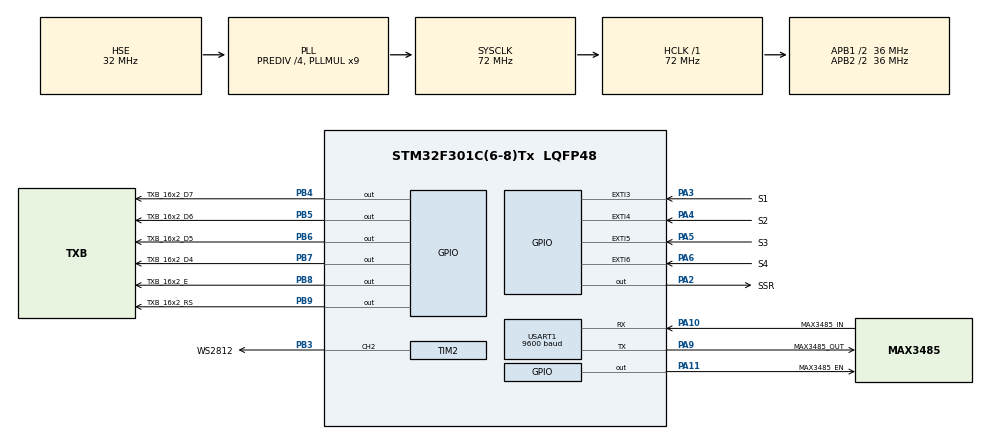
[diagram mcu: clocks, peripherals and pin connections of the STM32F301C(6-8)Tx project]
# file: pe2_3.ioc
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Dma.Request0=TIM2_CH2/CH4
Dma.TIM2_CH2/CH4.0.Direction=DMA_MEMORY_TO_PERIPH
Dma.TIM2_CH2/CH4.0.Instance=DMA1_Channel7
Dma.TIM2_CH2/CH4.0.MemDataAlignment=DMA_MDATAALIGN_WORD
Dma.TIM2_CH2/CH4.0.MemInc=DMA_MINC_ENABLE
Dma.TIM2_CH2/CH4.0.Mode=DMA_NORMAL
Dma.TIM2_CH2/CH4.0.PeriphDataAlignment=DMA_PDATAALIGN_WORD
Dma.TIM2_CH2/CH4.0.PeriphInc=DMA_PINC_DISABLE
Dma.TIM2_CH2/CH4.0.Priority=DMA_PRIORITY_LOW
Mcu.Family=STM32F3
Mcu.Name=STM32F301C(6-8)Tx
Mcu.Package=LQFP48
NVIC.DMA1_Channel7_IRQn=true\:0\:0\:false\:false\:true\:false\:true\:true
NVIC.EXTI3_IRQn=true\:0\:0\:false\:false\:true\:true\:true\:true
NVIC.EXTI4_IRQn=true\:0\:0\:false\:false\:true\:true\:true\:true
NVIC.EXTI9_5_IRQn=true\:0\:0\:false\:false\:true\:true\:true\:true
NVIC.PriorityGroup=NVIC_PRIORITYGROUP_4
PA10.GPIO_Label=MAX3485_IN
PA10.Mode=Asynchronous
PA10.Signal=USART1_RX
PA11.GPIO_Label=MAX3485_EN
PA11.Signal=GPIO_Output
PA13.Signal=SYS_JTMS-SWDIO
PA14.Signal=SYS_JTCK-SWCLK
PA2.GPIO_Label=SSR
PA2.Signal=GPIO_Output
PA3.GPIO_Label=S1
PA3.Signal=GPXTI3
PA4.GPIO_Label=S2
PA4.Signal=GPXTI4
PA5.GPIO_Label=S3
PA5.Signal=GPXTI5
PA6.GPIO_Label=S4
PA6.Signal=GPXTI6
PA9.GPIO_Label=MAX3485_OUT
PA9.Mode=Asynchronous
PA9.Signal=USART1_TX
PB3.GPIO_Label=WS2812
PB3.Signal=S_TIM2_CH2
PB4.GPIO_Label=TXB_16x2_D7
PB4.Signal=GPIO_Output
PB5.GPIO_Label=TXB_16x2_D6
PB5.Signal=GPIO_Output
PB6.GPIO_Label=TXB_16x2_D5
PB6.Signal=GPIO_Output
PB7.GPIO_Label=TXB_16x2_D4
PB7.Signal=GPIO_Output
PB8.GPIO_Label=TXB_16x2_E
PB8.Signal=GPIO_Output
PB9.GPIO_Label=TXB_16x2_RS
PB9.Signal=GPIO_Output
PF0-OSC_IN.Mode=HSE-External-Oscillator
PF0-OSC_IN.Signal=RCC_OSC_IN
PF1-OSC_OUT.Mode=HSE-External-Oscillator
PF1-OSC_OUT.Signal=RCC_OSC_OUT
ProjectManager.HeapSize=0x200
ProjectManager.StackSize=0x400
ProjectManager.TargetToolchain=STM32CubeIDE
RCC.AHBFreq_Value=72000000
RCC.APB1CLKDivider=RCC_HCLK_DIV2
RCC.APB1Freq_Value=36000000
RCC.APB1TimFreq_Value=72000000
RCC.APB2CLKDivider=RCC_HCLK_DIV2
RCC.APB2Freq_Value=36000000
RCC.APB2TimFreq_Value=72000000
RCC.CortexFreq_Value=72000000
RCC.HCLKFreq_Value=72000000
RCC.HSE_VALUE=32000000
RCC.HSI_VALUE=8000000
RCC.LSE_VALUE=32768
RCC.PLLMUL=RCC_PLL_MUL9
RCC.PLLSourceVirtual=RCC_PLLSOURCE_HSE
RCC.RCC_PLLsource_Clock_Source_FROM_HSE=RCC_HSE_PREDIV_DIV4
RCC.SYSCLKFreq_VALUE=72000000
RCC.SYSCLKSourceVirtual=RCC_SYSCLKSOURCE_PLLCLK
SH.S_TIM2_CH2.0=TIM2_CH2,PWM Generation2 CH2
TIM2.Channel-PWM\ Generation2\ CH2=TIM_CHANNEL_2
TIM2.Period=90-1
USART1.BaudRate=9600
USART1.VirtualMode-Asynchronous=VM_ASYNC
VP_TIM2_VS_ClockSourceINT.Mode=Internal
board=custom

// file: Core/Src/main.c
/* USER CODE BEGIN Header */
/**
  ******************************************************************************
  * @file           : main.c
  * @brief          : Main program body
  ******************************************************************************
  * @attention
  *
  * Copyright (c) 2025 STMicroelectronics.
  * All rights reserved.
  *
  * This software is licensed under terms that can be found in the LICENSE file
  * in the root directory of this software component.
  * If no LICENSE file comes with this software, it is provided AS-IS.
  *
  ******************************************************************************
  */
/* USER CODE END Header */
#include "main.h"

/* USER CODE BEGIN Includes */

#include <stdio.h>
#include <string.h>

#include "16x2_screen.h"
#include "ui.h"
#include "max3485.h"
#include "SSR.h"
#include "LED.h"

/* USER CODE END Includes */

TIM_HandleTypeDef htim2;
DMA_HandleTypeDef hdma_tim2_ch2_ch4;

UART_HandleTypeDef huart1;

/* USER CODE BEGIN PV */

extern volatile  uint8_t page;
extern volatile  uint8_t select;
extern volatile  uint8_t conf;

extern volatile uint8_t update;

extern volatile float rs485;

extern volatile  int16_t max_level;
extern volatile  int16_t min_level;
extern volatile  int16_t max_well_level;
extern volatile  int16_t min_well_level;

extern volatile uint8_t brightness;

uint32_t pm = 0; //used for debounce
uint32_t cm = 0; //used for debounce

/* USER CODE END PV */

void SystemClock_Config(void);
static void MX_GPIO_Init(void);
static void MX_DMA_Init(void);
static void MX_USART1_UART_Init(void);
static void MX_TIM2_Init(void);

int main(void)
{

  /* MCU Configuration--------------------------------------------------------*/

  /* Reset of all peripherals, Initializes the Flash interface and the Systick. */
  HAL_Init();

  /* Configure the system clock */
  SystemClock_Config();

  /* Initialize all configured peripherals */
  MX_GPIO_Init();
  MX_DMA_Init();
  MX_USART1_UART_Init();
  MX_TIM2_Init();
  /* USER CODE BEGIN 2 */

  init_screen();

  ui();

  /* USER CODE END 2 */

  /* Infinite loop */
  while (1)
  {

    /* USER CODE BEGIN 3 */

	if(update == 1){
		update = 0;
		ui();
	}

	sendCommand(0x01, 0x03, 0x0004, 0x01);
	HAL_Delay(2);
	readResponse(7);

	if(HAL_GPIO_ReadPin(SSR_GPIO_Port, SSR_Pin) == 0 && rs485 <= min_level){
		relay("ON");
	}
	else if(HAL_GPIO_ReadPin(SSR_GPIO_Port, SSR_Pin) == 1 && rs485 <= max_level){

	}
	else if(HAL_GPIO_ReadPin(SSR_GPIO_Port, SSR_Pin) == 1 && rs485 >= max_level){
		relay("OFF");
	}
	else{
		relay("OFF");
	}

	float level_size = 133.0f  / (max_well_level - min_well_level);
	uint8_t min = (min_level * level_size);
	uint8_t max = (max_level * level_size);
	uint8_t min_well = (min_well_level * level_size);
	uint8_t max_well = ((max_well_level - min_well_level) * level_size);
	uint8_t level = (rs485 * level_size);

	for(uint8_t l = 0; l<=133; l++){
		if(l <= level){
			Set_LED(l, 0, 0, brightness);
		}
		else{
			Set_LED(l, 0, 0, 0);
		}
	}

	Set_LED(min, (brightness + 100), 0, 0);
	Set_LED(max, 0, (brightness + 100), 0);
	Set_LED(min_well, (brightness - 5), (brightness - 5), (brightness - 5));
	Set_LED(max_well, (brightness - 5), (brightness - 5), (brightness - 5));

	WS2812_Send(&htim2);

  }
  /* USER CODE END 3 */
}

void SystemClock_Config(void)
{
  RCC_OscInitTypeDef RCC_OscInitStruct = {0};
  RCC_ClkInitTypeDef RCC_ClkInitStruct = {0};
  RCC_PeriphCLKInitTypeDef PeriphClkInit = {0};

  /** Initializes the RCC Oscillators according to the specified parameters
  * in the RCC_OscInitTypeDef structure.
  */
  RCC_OscInitStruct.OscillatorType = RCC_OSCILLATORTYPE_HSE;
  RCC_OscInitStruct.HSEState = RCC_HSE_ON;
  RCC_OscInitStruct.HSEPredivValue = RCC_HSE_PREDIV_DIV4;
  RCC_OscInitStruct.HSIState = RCC_HSI_ON;
  RCC_OscInitStruct.PLL.PLLState = RCC_PLL_ON;
  RCC_OscInitStruct.PLL.PLLSource = RCC_PLLSOURCE_HSE;
  RCC_OscInitStruct.PLL.PLLMUL = RCC_PLL_MUL9;
  if (HAL_RCC_OscConfig(&RCC_OscInitStruct) != HAL_OK)
  {
    Error_Handler();
  }

  /** Initializes the CPU, AHB and APB buses clocks
  */
  RCC_ClkInitStruct.ClockType = RCC_CLOCKTYPE_HCLK|RCC_CLOCKTYPE_SYSCLK
                              |RCC_CLOCKTYPE_PCLK1|RCC_CLOCKTYPE_PCLK2;
  RCC_ClkInitStruct.SYSCLKSource = RCC_SYSCLKSOURCE_PLLCLK;
  RCC_ClkInitStruct.AHBCLKDivider = RCC_SYSCLK_DIV1;
  RCC_ClkInitStruct.APB1CLKDivider = RCC_HCLK_DIV2;
  RCC_ClkInitStruct.APB2CLKDivider = RCC_HCLK_DIV2;

  if (HAL_RCC_ClockConfig(&RCC_ClkInitStruct, FLASH_LATENCY_2) != HAL_OK)
  {
    Error_Handler();
  }
  PeriphClkInit.PeriphClockSelection = RCC_PERIPHCLK_USART1;
  PeriphClkInit.Usart1ClockSelection = RCC_USART1CLKSOURCE_PCLK1;
  if (HAL_RCCEx_PeriphCLKConfig(&PeriphClkInit) != HAL_OK)
  {
    Error_Handler();
  }
}

static void MX_TIM2_Init(void)
{

  TIM_ClockConfigTypeDef sClockSourceConfig = {0};
  TIM_MasterConfigTypeDef sMasterConfig = {0};
  TIM_OC_InitTypeDef sConfigOC = {0};

  htim2.Instance = TIM2;
  htim2.Init.Prescaler = 0;
  htim2.Init.CounterMode = TIM_COUNTERMODE_UP;
  htim2.Init.Period = 90-1;
  htim2.Init.ClockDivision = TIM_CLOCKDIVISION_DIV1;
  htim2.Init.AutoReloadPreload = TIM_AUTORELOAD_PRELOAD_DISABLE;
  if (HAL_TIM_Base_Init(&htim2) != HAL_OK)
  {
    Error_Handler();
  }
  sClockSourceConfig.ClockSource = TIM_CLOCKSOURCE_INTERNAL;
  if (HAL_TIM_ConfigClockSource(&htim2, &sClockSourceConfig) != HAL_OK)
  {
    Error_Handler();
  }
  if (HAL_TIM_PWM_Init(&htim2) != HAL_OK)
  {
    Error_Handler();
  }
  sMasterConfig.MasterOutputTrigger = TIM_TRGO_RESET;
  sMasterConfig.MasterSlaveMode = TIM_MASTERSLAVEMODE_DISABLE;
  if (HAL_TIMEx_MasterConfigSynchronization(&htim2, &sMasterConfig) != HAL_OK)
  {
    Error_Handler();
  }
  sConfigOC.OCMode = TIM_OCMODE_PWM1;
  sConfigOC.Pulse = 0;
  sConfigOC.OCPolarity = TIM_OCPOLARITY_HIGH;
  sConfigOC.OCFastMode = TIM_OCFAST_DISABLE;
  if (HAL_TIM_PWM_ConfigChannel(&htim2, &sConfigOC, TIM_CHANNEL_2) != HAL_OK)
  {
    Error_Handler();
  }
  HAL_TIM_MspPostInit(&htim2);

}

static void MX_USART1_UART_Init(void)
{

  huart1.Instance = USART1;
  huart1.Init.BaudRate = 9600;
  huart1.Init.WordLength = UART_WORDLENGTH_8B;
  huart1.Init.StopBits = UART_STOPBITS_1;
  huart1.Init.Parity = UART_PARITY_NONE;
  huart1.Init.Mode = UART_MODE_TX_RX;
  huart1.Init.HwFlowCtl = UART_HWCONTROL_NONE;
  huart1.Init.OverSampling = UART_OVERSAMPLING_16;
  huart1.Init.OneBitSampling = UART_ONE_BIT_SAMPLE_DISABLE;
  huart1.AdvancedInit.AdvFeatureInit = UART_ADVFEATURE_NO_INIT;
  if (HAL_UART_Init(&huart1) != HAL_OK)
  {
    Error_Handler();
  }

}

static void MX_DMA_Init(void)
{

  /* DMA controller clock enable */
  __HAL_RCC_DMA1_CLK_ENABLE();

  /* DMA interrupt init */
  /* DMA1_Channel7_IRQn interrupt configuration */
  HAL_NVIC_SetPriority(DMA1_Channel7_IRQn, 0, 0);
  HAL_NVIC_EnableIRQ(DMA1_Channel7_IRQn);

}

static void MX_GPIO_Init(void)
{
  GPIO_InitTypeDef GPIO_InitStruct = {0};

  /* GPIO Ports Clock Enable */
  __HAL_RCC_GPIOF_CLK_ENABLE();
  __HAL_RCC_GPIOA_CLK_ENABLE();
  __HAL_RCC_GPIOB_CLK_ENABLE();

  /*Configure GPIO pin Output Level */
  HAL_GPIO_WritePin(GPIOA, SSR_Pin|MAX3485_EN_Pin, GPIO_PIN_RESET);

  /*Configure GPIO pin Output Level */
  HAL_GPIO_WritePin(GPIOB, TXB_16x2_D7_Pin|TXB_16x2_D6_Pin|TXB_16x2_D5_Pin|TXB_16x2_D4_Pin
                          |TXB_16x2_E_Pin|TXB_16x2_RS_Pin, GPIO_PIN_RESET);

  /*Configure GPIO pins : SSR_Pin MAX3485_EN_Pin */
  GPIO_InitStruct.Pin = SSR_Pin|MAX3485_EN_Pin;
  GPIO_InitStruct.Mode = GPIO_MODE_OUTPUT_PP;
  GPIO_InitStruct.Pull = GPIO_NOPULL;
  GPIO_InitStruct.Speed = GPIO_SPEED_FREQ_LOW;
  HAL_GPIO_Init(GPIOA, &GPIO_InitStruct);

  /*Configure GPIO pins : S1_Pin S2_Pin S3_Pin S4_Pin */
  GPIO_InitStruct.Pin = S1_Pin|S2_Pin|S3_Pin|S4_Pin;
  GPIO_InitStruct.Mode = GPIO_MODE_IT_RISING;
  GPIO_InitStruct.Pull = GPIO_NOPULL;
  HAL_GPIO_Init(GPIOA, &GPIO_InitStruct);

  /*Configure GPIO pins : TXB_16x2_D7_Pin TXB_16x2_D6_Pin TXB_16x2_D5_Pin TXB_16x2_D4_Pin
                           TXB_16x2_E_Pin TXB_16x2_RS_Pin */
  GPIO_InitStruct.Pin = TXB_16x2_D7_Pin|TXB_16x2_D6_Pin|TXB_16x2_D5_Pin|TXB_16x2_D4_Pin
                          |TXB_16x2_E_Pin|TXB_16x2_RS_Pin;
  GPIO_InitStruct.Mode = GPIO_MODE_OUTPUT_PP;
  GPIO_InitStruct.Pull = GPIO_NOPULL;
  GPIO_InitStruct.Speed = GPIO_SPEED_FREQ_LOW;
  HAL_GPIO_Init(GPIOB, &GPIO_InitStruct);

  /* EXTI interrupt init*/
  HAL_NVIC_SetPriority(EXTI3_IRQn, 0, 0);
  HAL_NVIC_EnableIRQ(EXTI3_IRQn);

  HAL_NVIC_SetPriority(EXTI4_IRQn, 0, 0);
  HAL_NVIC_EnableIRQ(EXTI4_IRQn);

  HAL_NVIC_SetPriority(EXTI9_5_IRQn, 0, 0);
  HAL_NVIC_EnableIRQ(EXTI9_5_IRQn);

}

/* USER CODE BEGIN 4 */

void HAL_GPIO_EXTI_Callback(uint16_t GPIO_Pin)
{
	  cm = HAL_GetTick();
	  if (cm - pm > 110)
	  {
	    pm = cm;

		UNUSED(GPIO_Pin);

		if (GPIO_Pin == S1_Pin) {
			if(page > 1){
				page--;
				conf = 0;
				select = 1;
			}
		}
		else if (GPIO_Pin == S2_Pin) {
			conf = 1;
		}
		else if (GPIO_Pin == S3_Pin) {
				select++;
		}
		else if (GPIO_Pin == S4_Pin) {
				page++;
				conf = 0;
				select = 1;
		}

		update = 1;
	  }
}

/* USER CODE END 4 */

void Error_Handler(void)
{
  __disable_irq();
  while (1)
  {
  }
}
